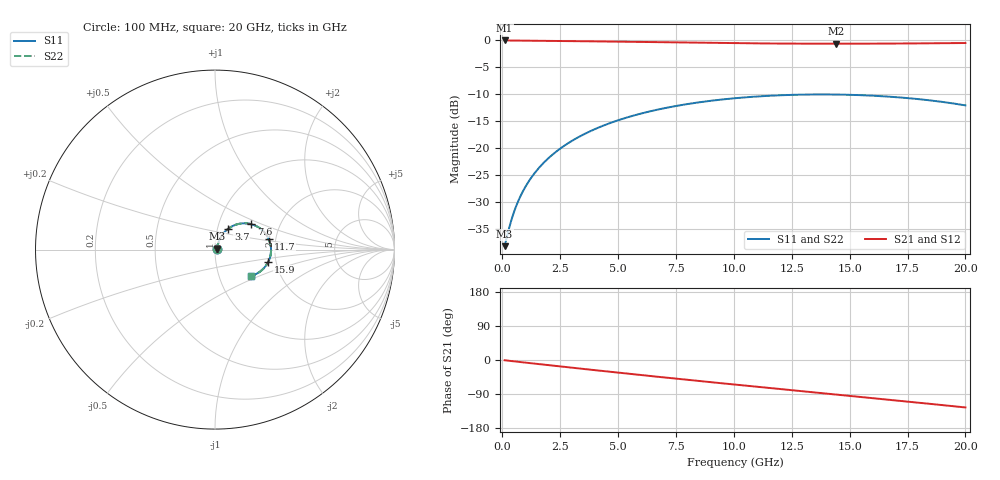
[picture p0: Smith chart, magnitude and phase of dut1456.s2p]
! Touchstone file exported from HFSS 2026.1.0
!  File:  C:/ffzhzh/LocalFiles/Ansys_Project_Files/temp_train_TSV_RDL_1456_1783359593_4416.aedt
!  Generated:  01:52:05 AM Jul  7, 2026
!  Design:  TSV_RDL
!  Project:  temp_train_TSV_RDL_1456_1783359593_4416
! Variables:
!  h_bsmrdl = 3.94um
!  h_ox = 20um
!  h_rdl = 5um
!  h_sub = 97.24um
!  h_tmrdl = 2.65um
!  h_tsv = 97.24um
!  h_via = 3um
!  l_bsmrdl = 127.49um
!  l_sub = 1832.34um
!  l_tmrdl = 236.33um
!  m_sub = 200um
!  pitch = 33.5um
!  r_tsv = 6.57um
!  s_tmrdl = 10um
!  w_bsmrdl = 11.21um
!  w_sub = 500um
!  w_tmrdl = 23.64um
!  x_tsv_center1 = 248.15um
!  x_tsv_center2 = 386.85um
!  x_tsv_center3 = 646.82um
!  x_tsv_center4 = 785.52um
!  x_tsv_center5 = 1045.49um
!  x_tsv_center6 = 1184.19um
# GHz S MA R 50.000000
! Terminal data exported
! Port[1] = TM_RDL1_1_T1
! Port[2] = TM_RDL5_1_T1
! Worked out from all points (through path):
!   200 points, 100 MHz to 20 GHz, reference 50 ohm
!   highest |S21| = -0.10 dB at 100 MHz (marker M1); lowest = -0.7 dB at 14.4 GHz (marker M2)
!   group delay of S21, straight-line fit = 17.2 ps
!   lowest |S11| = -38.2 dB at 100 MHz (marker M3), VSWR 1.02, Z = 51.1 + j0.467 ohm
!   |S11| at or under -10 dB: start of sweep to end of sweep
!   |S22| runs from -38.2 to -10.1 dB; largest |S21 - S12| = 2.2e-14
!   S11 on the Smith chart (normalised r, x): 100 MHz: 1.02, +0.01; 3.7 GHz: 1.13, +0.27; 7.6 GHz: 1.43, +0.43; 11.7 GHz: 1.83, +0.24; 15.9 GHz: 1.82, -0.27; 20 GHz: 1.42, -0.44
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0.1  0.01223 21.9  0.9887 -0.7  0.9887 -0.7  0.01223 21.9
! Gamma 0 0 0 0
! Port Impedance 50 0 50 0
0.4  0.02165 51.5  0.9872 -2.8  0.9872 -2.8  0.02165 51.5
0.6  0.02881 58.3  0.9864 -4.2  0.9864 -4.2  0.02881 58.3
0.9  0.03982 63.0  0.9852 -6.2  0.9852 -6.2  0.03982 63.0
1.3  0.05466 65.1  0.9836 -8.9  0.9836 -8.9  0.05466 65.1
1.7  0.06939 65.2  0.9819 -11.6  0.9819 -11.6  0.06939 65.2
2.2  0.08751 64.1  0.9795 -14.9  0.9795 -14.9  0.08751 64.1
2.8  0.1087 61.8  0.9765 -18.9  0.9765 -18.9  0.1087 61.8
3.5  0.1326 58.5  0.9726 -23.5  0.9726 -23.5  0.1326 58.5
3.7  0.1392 57.4  0.9715 -24.9  0.9715 -24.9  0.1392 57.4
5.1  0.1827 49.7  0.9626 -34.0  0.9626 -34.0  0.1827 49.7
6.8  0.228 39.9  0.9513 -44.8  0.9513 -44.8  0.228 39.9
7.6  0.2461 35.2  0.9461 -49.8  0.9461 -49.8  0.2461 35.2
8.8  0.2693 28.2  0.9389 -57.2  0.9389 -57.2  0.2693 28.2
10.1  0.2887 20.6  0.9322 -65.2  0.9322 -65.2  0.2887 20.6
11.7  0.3047 11.3  0.9262 -74.8  0.9262 -74.8  0.3047 11.3
13.4  0.312 1.6  0.9228 -85.0  0.9228 -85.0  0.312 1.6
14.4  0.3117 -4.1  0.9223 -91.0  0.9223 -91.0  0.3117 -4.1
15.9  0.3047 -12.7  0.9234 -100.1  0.9234 -100.1  0.3047 -12.7
16.7  0.2979 -17.3  0.925 -104.9  0.925 -104.9  0.2979 -17.3
18.4  0.2762 -27.1  0.9299 -115.3  0.9299 -115.3  0.2762 -27.1
20  0.2472 -36.4  0.9361 -125.2  0.9361 -125.2  0.2472 -36.4
